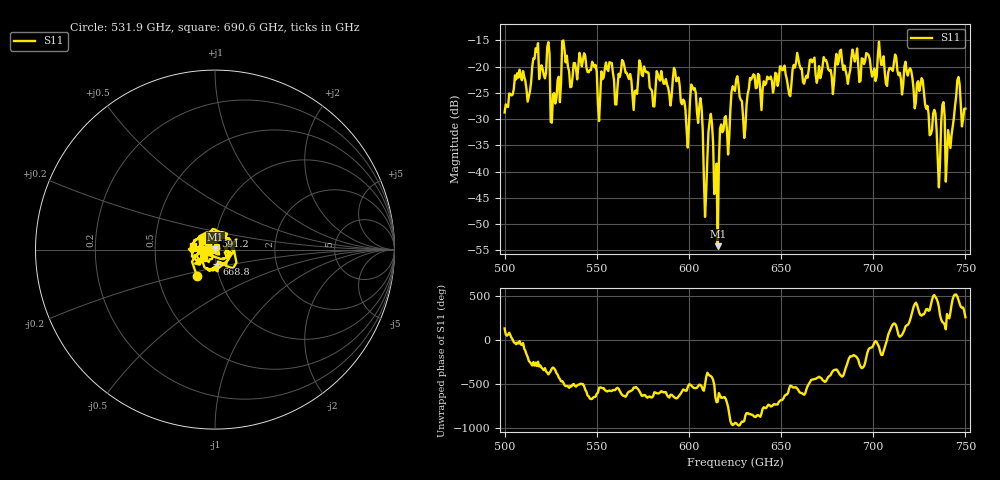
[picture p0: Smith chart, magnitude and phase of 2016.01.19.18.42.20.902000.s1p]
!Created with skrf (http://scikit-rf.org).
# GHz S RI R 50.0
!freq ReS11 ImS11
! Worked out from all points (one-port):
!   401 points, 500 GHz to 750 GHz, reference 50 ohm
!   lowest |S11| = -54.2 dB at 615.6 GHz (marker M1), VSWR 1.00, Z = 50.2 + j0.0679 ohm
!   |S11| at or under -10 dB: start of sweep to end of sweep
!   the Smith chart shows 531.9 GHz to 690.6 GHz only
!   S11 on the Smith chart (normalised r, x): 531.9 GHz: 0.79, -0.24; 591.2 GHz: 1.00, +0.15; 668.8 GHz: 1.01, -0.17; 690.6 GHz: 0.78, +0.03
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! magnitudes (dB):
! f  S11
! 500 GHz  -28.7
! 516.9 GHz  -16.5
! 523.1 GHz  -16.3
! 526.2 GHz  -25.3
! 531.2 GHz  -15.1
! 531.9 GHz  -15.0
! 562.5 GHz  -22.0
! 591.2 GHz  -22.5
! 593.8 GHz  -22.6
! 598.8 GHz  -32.0
! 602.5 GHz  -24.4
! 606.2 GHz  -26.0
! 608.8 GHz  -48.6
! 611.9 GHz  -29.0
! 615.6 GHz  -54.2
! 625 GHz  -24.6
! 630 GHz  -33.6
! 634.4 GHz  -22.0
! 656.2 GHz  -20.5
! 668.8 GHz  -21.6
! 687.5 GHz  -20.7
! 690.6 GHz  -18.1
! 718.8 GHz  -21.7
! 735.6 GHz  -43.0
! 737.5 GHz  -27.3
! 740.6 GHz  -32.1
! 745.6 GHz  -22.6
! 750 GHz  -28.0
